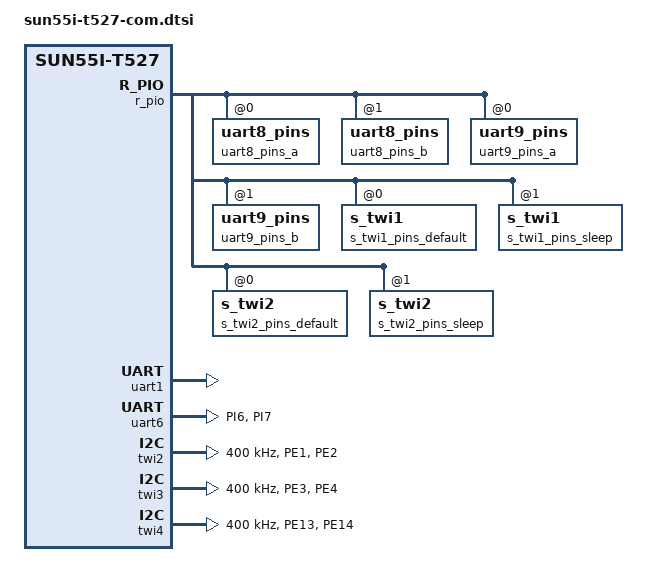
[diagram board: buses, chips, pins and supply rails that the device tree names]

&pio {


	uart2_pins_a: uart2_pins@0 {
		pins = "PB0", "PB1";
		function = "uart2";
	};

	uart2_pins_b: uart2_pins@1 {
		pins = "PB0", "PB1";
		function = "gpio_in";
	};

	uart3_pins_a: uart3_pins@0 {
		pins = "PD14", "PD15";
		function = "uart3";
	};

	uart3_pins_b: uart3_pins@1 {
		pins = "PD14", "PD15";
		function = "gpio_in";
	};

	uart4_pins_a: uart4_pins@0 {
		pins = "PD18", "PD19";
		function = "uart4";
	};

	uart4_pins_b: uart4_pins@1 {
		pins = "PD18", "PD19";
		function = "gpio_in";
	};

	uart5_pins_a: uart5_pins@0 {
		pins = "PE11", "PE12";
		function = "uart5";
	};

	uart5_pins_b: uart5_pins@1 {
		pins = "PE11", "PE12";
		function = "gpio_in";
	};

	uart6_pins_a: uart6_pins@0 {
		pins = "PI6", "PI7";
		function = "uart6";
	};

	uart6_pins_b: uart6_pins@1 {
		pins = "PI6", "PI7";
		function = "gpio_in";
	};

	uart7_pins_a: uart7_pins@0 {
		pins = "PB11", "PB12";
		function = "uart7";
	};

	uart7_pins_b: uart7_pins@1 {
		pins = "PB11", "PB12";
		function = "gpio_in";
	};


	twi0_pins_default: twi0@0 {
		pins = "PD22", "PD23";
		function = "twi0";
		drive-strength = <10>;
		bias-pull-up;
	};

	twi0_pins_sleep: twi0@1 {
		pins = "PD22", "PD23";
		function = "gpio_in";
	};

	twi1_pins_default: twi1@0 {
		pins = "PH2", "PH3";
		function = "twi1";
		drive-strength = <10>;
		bias-pull-up;
	};

	twi1_pins_sleep: twi1@1 {
		pins = "PH2", "PH3";
		function = "gpio_in";
	};

	twi2_pins_default: twi2@0 {
		pins = "PE1", "PE2";
		function = "twi2";
		drive-strength = <20>;
		bias-pull-up;
	};

	twi2_pins_sleep: twi2@1 {
		pins = "PE1", "PE2";
		function = "gpio_in";
	};

	twi3_pins_default: twi3@0 {
		pins = "PE3", "PE4";
		function = "twi3";
		drive-strength = <20>;
		bias-pull-up;
	};

	twi3_pins_sleep: twi3@1 {
		pins = "PE3", "PE4";
		function = "gpio_in";
	};

	twi4_pins_default: twi4@0 {
		pins = "PE13", "PE14";
		function = "twi4";
		drive-strength = <10>;
		bias-pull-up;
	};

	twi4_pins_sleep: twi4@1 {
		pins = "PE13", "PE14";
		function = "gpio_in";
	};

	twi5_pins_default: twi5@0 {
		pins = "PI8", "PI9";
		function = "twi5";
		drive-strength = <10>;
		bias-pull-up;
	};

	twi5_pins_sleep: twi5@1 {
		pins = "PI8", "PI9";
		function = "gpio_in";
	};
};
&r_pio {
	uart8_pins_a: uart8_pins@0 {
		pins = "PL2", "PL3";
		function = "s_uart0";
	};

	uart8_pins_b: uart8_pins@1 {
		pins = "PL2", "PL3";
		function = "gpio_in";
	};

	uart9_pins_a: uart9_pins@0 {
		pins = "PM0", "PM1";
		function = "s_uart1";
	};

	uart9_pins_b: uart9_pins@1 {
		pins = "PM0", "PM1";
		function = "gpio_in";
	};

	s_twi1_pins_default: s_twi1@0 {
		pins = "PL8", "PL9";
		function = "s_twi1";
		drive-strength = <10>;
		bias-pull-up;
	};

	s_twi1_pins_sleep: s_twi1@1 {
		pins = "PL8", "PL9";
		function = "gpio_in";
	};

	s_twi2_pins_default: s_twi2@0 {
		pins = "PL12", "PL13";
		function = "s_twi2";
		drive-strength = <10>;
		bias-pull-up;
	};

	s_twi2_pins_sleep: s_twi2@1 {
		pins = "PL12", "PL13";
		function = "gpio_in";
	};

};
&uart1 {
	status = "okay";
};

&uart2 {
	pinctrl-names = "default", "sleep";
	pinctrl-0 = <&uart2_pins_a>;
	pinctrl-1 = <&uart2_pins_b>;
	status = "disabled";
};

&uart3 {
	pinctrl-names = "default", "sleep";
	pinctrl-0 = <&uart3_pins_a>;
	pinctrl-1 = <&uart3_pins_b>;
	status = "disabled";
};

&uart4 {
	pinctrl-names = "default", "sleep";
	pinctrl-0 = <&uart4_pins_a>;
	pinctrl-1 = <&uart4_pins_b>;
	status = "disabled";
};

&uart5 {
	pinctrl-names = "default", "sleep";
	pinctrl-0 = <&uart5_pins_a>;
	pinctrl-1 = <&uart5_pins_b>;
	status = "disabled";
};

&uart6 {
	pinctrl-names = "default", "sleep";
	pinctrl-0 = <&uart6_pins_a>;
	pinctrl-1 = <&uart6_pins_b>;
	status = "okay";
};

&uart7 {
	pinctrl-names = "default", "sleep";
	pinctrl-0 = <&uart7_pins_a>;
	pinctrl-1 = <&uart7_pins_b>;
	status = "disabled";
};

&uart8 {
	pinctrl-names = "default", "sleep";
	pinctrl-0 = <&uart8_pins_a>;
	pinctrl-1 = <&uart8_pins_b>;
	status = "disabled";
};

&uart9 {
	pinctrl-names = "default", "sleep";
	pinctrl-0 = <&uart9_pins_a>;
	pinctrl-1 = <&uart9_pins_b>;
	status = "disabled";
};


&twi0 {
	clock-frequency = <400000>;
	pinctrl-0 = <&twi0_pins_default>;
	pinctrl-1 = <&twi0_pins_sleep>;
	pinctrl-names = "default", "sleep";
	/* For stability and backwards compatibility, we recommend setting ‘twi_drv_used’ to 1 */
	twi_drv_used = <1>;
	twi-supply = <&reg_dcdc4>;
	status = "disabled";
};

&twi1 {
	clock-frequency = <400000>;
	pinctrl-0 = <&twi1_pins_default>;
	pinctrl-1 = <&twi1_pins_sleep>;
	pinctrl-names = "default", "sleep";
	/* For stability and backwards compatibility, we recommend setting ‘twi_drv_used’ to 1 */
	twi_drv_used = <1>;
	status = "disabled";
};

&twi2 {
	clock-frequency = <400000>;
	pinctrl-0 = <&twi2_pins_default>;
	pinctrl-1 = <&twi2_pins_sleep>;
	pinctrl-names = "default", "sleep";
	/* For stability and backwards compatibility, we recommend setting ‘twi_drv_used’ to 1 */
	twi_drv_used = <1>;
	twi-supply = <&reg_dcdc4>;
	status = "okay";
};

&twi3 {
	clock-frequency = <400000>;
	pinctrl-0 = <&twi3_pins_default>;
	pinctrl-1 = <&twi3_pins_sleep>;
	pinctrl-names = "default", "sleep";
	/* For stability and backwards compatibility, we recommend setting ‘twi_drv_used’ to 1 */
	twi_drv_used = <1>;
	twi-supply = <&reg_dcdc4>;
	status = "okay";
};

&twi4 {
	clock-frequency = <400000>;
	pinctrl-0 = <&twi4_pins_default>;
	pinctrl-1 = <&twi4_pins_sleep>;
	pinctrl-names = "default", "sleep";
	/* For stability and backwards compatibility, we recommend setting ‘twi_drv_used’ to 1 */
	twi_drv_used = <1>;
	twi-supply = <&reg_dcdc4>;
	status = "okay";
};

&twi5 {
	clock-frequency = <400000>;
	pinctrl-0 = <&twi5_pins_default>;
	pinctrl-1 = <&twi5_pins_sleep>;
	pinctrl-names = "default", "sleep";
	/* For stability and backwards compatibility, we recommend setting ‘twi_drv_used’ to 1 */
	twi_drv_used = <1>;
	twi-supply = <&reg_dcdc4>;
	status = "disabled";
};


&twi7 {
	clock-frequency = <400000>;
	pinctrl-0 = <&s_twi1_pins_default>;
	pinctrl-1 = <&s_twi1_pins_sleep>;
	pinctrl-names = "default", "sleep";
	/* For stability and backwards compatibility, we recommend setting ‘twi_drv_used’ to 1 */
	twi_drv_used = <1>;
	twi-supply = <&reg_aldo3>;
	status = "disabled";
};

&twi8 {
	clock-frequency = <400000>;
	pinctrl-0 = <&s_twi2_pins_default>;
	pinctrl-1 = <&s_twi2_pins_sleep>;
	pinctrl-names = "default", "sleep";
	/* For stability and backwards compatibility, we recommend setting ‘twi_drv_used’ to 1 */
	twi_drv_used = <1>;
	twi-supply = <&reg_aldo3>;
	status = "disabled";
};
